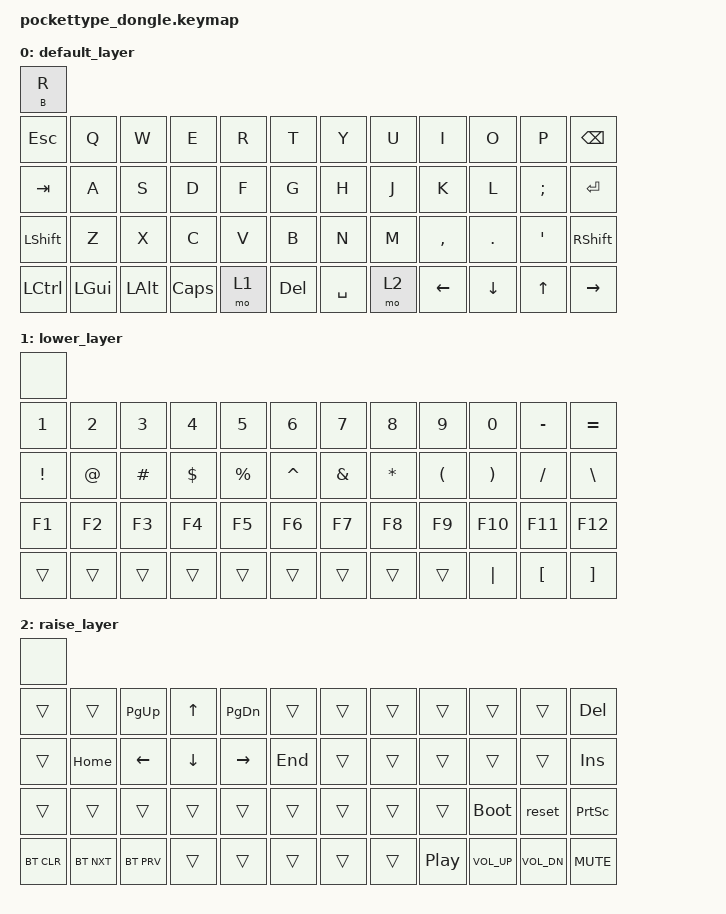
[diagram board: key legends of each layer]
/*
 * Copyright (c) 2020 The ZMK Contributors
 *
 * SPDX-License-Identifier: MIT
 */

#include <behaviors.dtsi>
#include <dt-bindings/zmk/keys.h>
#include <dt-bindings/zmk/bt.h>

/ {
	behaviors {
		rst: boot_reset {
			compatible = "zmk,behavior-hold-tap";
			label = "Hold Tap Bootloader-Reset";
			#binding-cells = <2>;
			tapping_term_ms = <150>;
			flavor = "balanced";
			bindings = <&bootloader>, <&reset>;
		};
	};

	keymap {
		compatible = "zmk,keymap";
		
		default_layer {
			bindings = <
                &rst B R
				&kp ESCAPE  &kp Q     &kp W    &kp E    &kp R  &kp T   &kp Y     &kp U  &kp I      &kp O    &kp P    &kp BSPC
				&kp TAB     &kp A     &kp S    &kp D    &kp F  &kp G   &kp H     &kp J  &kp K      &kp L    &kp SEMI &kp ENTER
				&kp LSHFT   &kp Z     &kp X    &kp C    &kp V  &kp B   &kp N     &kp M  &kp COMMA  &kp DOT  &kp SQT  &kp RSHFT
				&kp LCTRL   &kp LGUI  &kp LALT &kp CAPS &mo 1  &kp DEL &kp SPACE &mo 2  &kp LEFT   &kp DOWN &kp UP   &kp RIGHT
			>;
		};

		lower_layer {
			bindings = <
                &none
				&kp N1   &kp N2 &kp N3   &kp N4   &kp N5    &kp N6    &kp N7   &kp N8    &kp N9   &kp N0   &kp MINUS &kp EQUAL
				&kp EXCL &kp AT &kp HASH &kp DLLR &kp PRCNT &kp CARET &kp AMPS &kp ASTRK &kp LPAR &kp RPAR &kp SLASH &kp BSLH
				&kp F1   &kp F2 &kp F3   &kp F4   &kp F5    &kp F6    &kp F7   &kp F8    &kp F9   &kp F10  &kp F11   &kp F12
				&trans   &trans &trans   &trans   &trans    &trans    &trans   &trans    &trans   &kp PIPE &kp LBKT  &kp RBKT
			>;
		};

		raise_layer {
			bindings = <
                &none
				&trans     &trans     &kp PG_UP  &kp UP   &kp PG_DN &trans  &trans &trans &trans           &trans       &trans       &kp DEL
				&trans     &kp HOME   &kp LEFT   &kp DOWN &kp RIGHT &kp END &trans &trans &trans           &trans       &trans       &kp INSERT
				&trans     &trans     &trans     &trans   &trans    &trans  &trans &trans &trans           &bootloader  &reset       &kp PSCRN
				&bt BT_CLR &bt BT_NXT &bt BT_PRV &trans   &trans    &trans  &trans &trans &kp C_PLAY_PAUSE &kp C_VOL_UP &kp C_VOL_DN &kp C_MUTE
			>;
		};
	};
};
